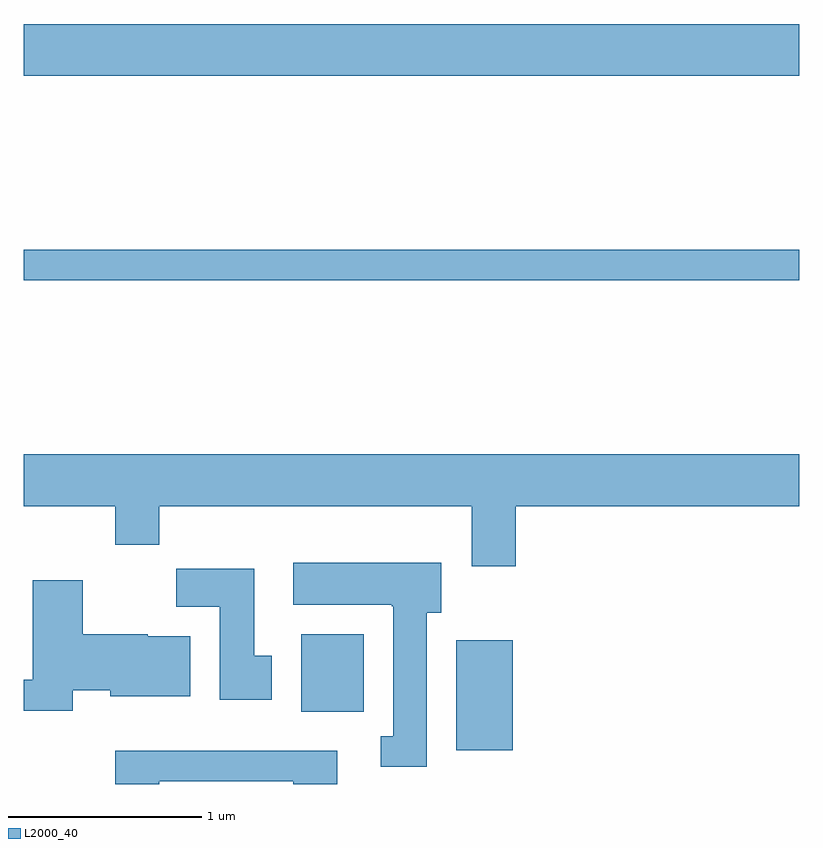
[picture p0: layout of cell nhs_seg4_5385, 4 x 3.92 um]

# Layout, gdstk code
import gdstk
lib = gdstk.Library(unit=1e-6, precision=1e-09)
def R(c, l, rs):  # rectangles x0, y0, x1, y1
    for r in rs: c.add(gdstk.rectangle(r[:2], r[2:], *l))
def P(c, l, *ps):  # polygons
    for p in ps: c.add(gdstk.Polygon(p, *l))
L2000_40 = (2000, 40)

nhs_seg4_5385 = lib.new_cell('nhs_seg4_5385')
R(nhs_seg4_5385, L2000_40, [(345.841,1280.156,346.134,1280.724), (345.041,1280.356,345.364,1280.754), (343.611,1282.581,347.611,1282.739), (343.611,1283.636,347.611,1283.904)])
P(nhs_seg4_5385, L2000_40, [(346.149,1281.416),(347.611,1281.416),(347.611,1281.684),(343.611,1281.684),(343.611,1281.416),(344.081,1281.416),(344.081,1281.216),(344.309,1281.216),(344.309,1281.416),(345.921,1281.416),(345.921,1281.106),(346.149,1281.106)],
  [(345.689,1280.866),(345.764,1280.866),(345.764,1281.124),(345.001,1281.124),(345.001,1280.906),(345.51,1280.906),(345.51,1280.9),(345.516,1280.9),(345.516,1280.229),(345.453,1280.229),(345.453,1280.071),(345.689,1280.071)],
  [(344.889,1280.644),(344.799,1280.644),(344.799,1281.094),(344.396,1281.094),(344.396,1280.896),(344.621,1280.896),(344.621,1280.416),(344.889,1280.416)],
  [(343.864,1280.466),(344.056,1280.466),(344.056,1280.436),(344.469,1280.436),(344.469,1280.744),(344.25,1280.744),(344.25,1280.754),(343.914,1280.754),(343.914,1281.034),(343.656,1281.034),(343.656,1280.519),(343.611,1280.519),(343.611,1280.361),(343.864,1280.361)],
  [(344.309,1279.996),(345.001,1279.996),(345.001,1279.982),(345.229,1279.982),(345.229,1280.154),(344.081,1280.154),(344.081,1279.982),(344.309,1279.982)])

lib.write_gds('nhs_seg4_5385.gds')
